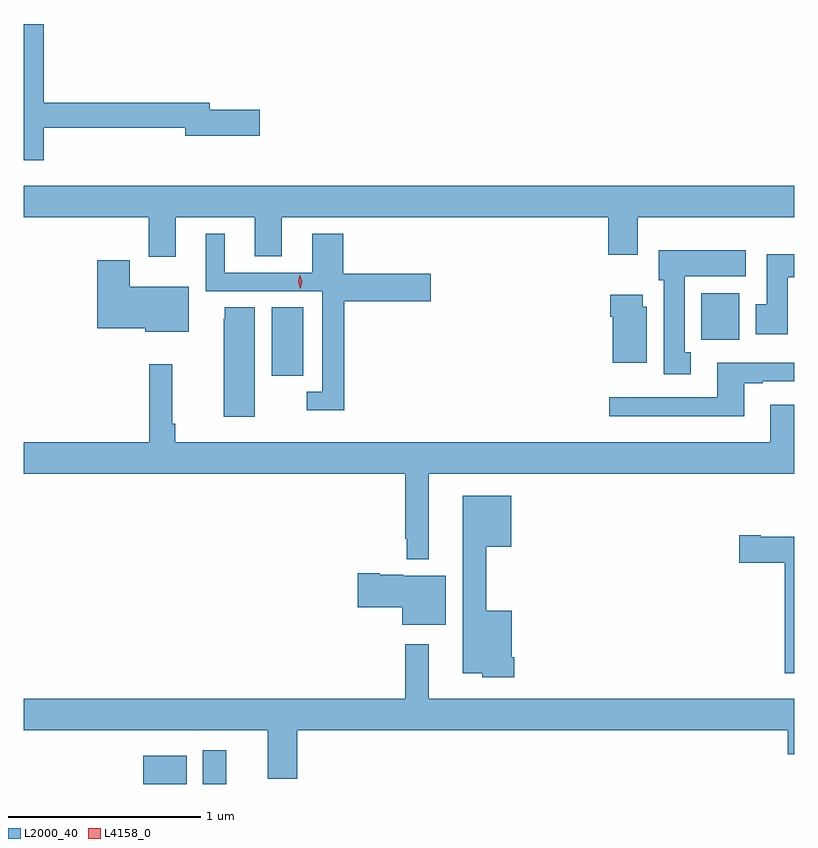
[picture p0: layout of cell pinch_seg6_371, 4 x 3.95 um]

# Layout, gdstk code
import gdstk
lib = gdstk.Library(unit=1e-6, precision=1e-09)
def R(c, l, rs):  # rectangles x0, y0, x1, y1
    for r in rs: c.add(gdstk.rectangle(r[:2], r[2:], *l))
def P(c, l, *ps):  # polygons
    for p in ps: c.add(gdstk.Polygon(p, *l))
L2000_40 = (2000, 40)
L4158_0 = (4158, 0)

pinch_seg6_371 = lib.new_cell('pinch_seg6_371')
R(pinch_seg6_371, L2000_40, [(675.062,933.737,675.286,933.883), (675.371,933.737,675.493,933.913), (675.728,935.856,675.892,936.212), (677.96,936.044,678.157,936.286)])
P(pinch_seg6_371, L2000_40, [(674.543,937.146),(675.278,937.146),(675.278,937.103),(675.667,937.103),(675.667,937.238),(675.406,937.238),(675.406,937.274),(674.543,937.274),(674.543,937.684),(674.441,937.684),(674.441,936.977),(674.543,936.977)],
  [(675.229,936.68),(675.641,936.68),(675.641,936.478),(675.781,936.478),(675.781,936.68),(677.477,936.68),(677.477,936.486),(677.629,936.486),(677.629,936.68),(678.441,936.68),(678.441,936.844),(674.441,936.844),(674.441,936.68),(675.089,936.68),(675.089,936.474),(675.229,936.474)],
  [(676.106,936.245),(676.555,936.245),(676.555,936.387),(676.1,936.387),(676.1,936.595),(675.938,936.595),(675.938,936.393),(675.484,936.393),(675.484,936.595),(675.386,936.595),(675.386,936.297),(675.99,936.297),(675.99,935.775),(675.909,935.775),(675.909,935.678),(676.106,935.678)],
  [(677.905,935.978),(677.872,935.978),(677.872,936.374),(678.19,936.374),(678.19,936.508),(677.738,936.508),(677.738,936.354),(677.765,936.354),(677.765,935.865),(677.905,935.865)],
  [(678.409,936.368),(678.441,936.368),(678.441,936.487),(678.299,936.487),(678.299,936.228),(678.242,936.228),(678.242,936.072),(678.409,936.072)],
  [(675.298,936.319),(674.992,936.319),(674.992,936.457),(674.822,936.457),(674.822,936.104),(675.072,936.104),(675.072,936.086),(675.298,936.086)],
  [(677.677,936.216),(677.656,936.216),(677.656,936.277),(677.486,936.277),(677.486,936.164),(677.498,936.164),(677.498,935.924),(677.677,935.924)],
  [(675.64,936.212),(675.485,936.212),(675.485,936.153),(675.479,936.153),(675.479,935.643),(675.64,935.643)],
  [(678.181,935.817),(678.277,935.817),(678.277,935.829),(678.441,935.829),(678.441,935.926),(678.041,935.926),(678.041,935.745),(677.481,935.745),(677.481,935.648),(678.181,935.648)],
  [(676.543,935.348),(678.441,935.348),(678.441,935.707),(678.317,935.707),(678.317,935.512),(675.227,935.512),(675.227,935.608),(675.212,935.608),(675.212,935.917),(675.091,935.917),(675.091,935.512),(674.441,935.512),(674.441,935.348),(676.422,935.348),(676.422,935.011),(676.429,935.011),(676.429,934.904),(676.543,934.904)],
  [(676.988,934.396),(676.975,934.396),(676.975,934.636),(676.843,934.636),(676.843,934.97),(676.972,934.97),(676.972,935.233),(676.721,935.233),(676.721,934.313),(676.821,934.313),(676.821,934.292),(676.988,934.292)],
  [(678.441,935.02),(678.268,935.02),(678.268,935.028),(678.156,935.028),(678.156,934.886),(678.392,934.886),(678.392,934.313),(678.441,934.313)],
  [(676.633,934.819),(676.41,934.819),(676.41,934.825),(676.288,934.825),(676.288,934.832),(676.176,934.832),(676.176,934.654),(676.406,934.654),(676.406,934.565),(676.633,934.565)],
  [(675.86,934.016),(678.407,934.016),(678.407,933.892),(678.441,933.892),(678.441,934.18),(676.543,934.18),(676.543,934.462),(676.422,934.462),(676.422,934.18),(674.441,934.18),(674.441,934.016),(675.707,934.016),(675.707,933.764),(675.86,933.764)])
P(pinch_seg6_371, L4158_0, [(675.877,936.309),(675.877,936.309),(675.866,936.345),(675.874,936.381),(675.874,936.382),(675.874,936.381),(675.886,936.346),(675.877,936.309)])

lib.write_gds('pinch_seg6_371.gds')
